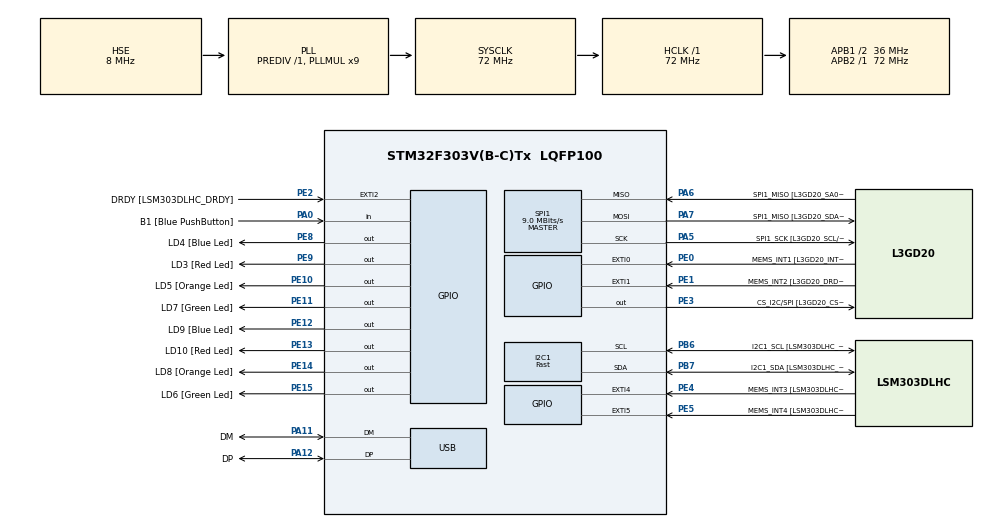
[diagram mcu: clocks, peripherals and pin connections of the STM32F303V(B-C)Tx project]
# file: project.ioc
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I2C1.I2C_Speed_Mode=I2C_Fast
I2C1.Timing=0x0000020B
I2C1.Timing-I2C=0x2000090E
Mcu.Family=STM32F3
Mcu.Name=STM32F303V(B-C)Tx
Mcu.Package=LQFP100
NVIC.EXTI1_IRQn=true\:0\:0\:false\:false\:true\:true\:true\:true
NVIC.EXTI4_IRQn=true\:0\:0\:false\:false\:true\:true\:true\:true
NVIC.PriorityGroup=NVIC_PRIORITYGROUP_0
NVIC.USB_LP_CAN_RX0_IRQn=true\:0\:0\:false\:false\:true\:false\:true\:true
PA0.GPIO_Label=B1 [Blue PushButton]
PA0.Signal=GPIO_Input
PA11.GPIO_Label=DM
PA11.Mode=Device
PA11.Signal=USB_DM
PA12.GPIO_Label=DP
PA12.Mode=Device
PA12.Signal=USB_DP
PA13.GPIO_Label=SWDIO
PA13.Mode=Serial_Wire
PA13.Signal=SYS_JTMS-SWDIO
PA14.GPIO_Label=SWCLK
PA14.Mode=Serial_Wire
PA14.Signal=SYS_JTCK-SWCLK
PA5.GPIO_Label=SPI1_SCK [L3GD20_SCL/SPC]
PA5.Mode=Full_Duplex_Master
PA5.Signal=SPI1_SCK
PA6.GPIO_Label=SPI1_MISO [L3GD20_SA0/SDO]
PA6.Mode=Full_Duplex_Master
PA6.Signal=SPI1_MISO
PA7.GPIO_Label=SPI1_MISO [L3GD20_SDA/SDI/SDO]
PA7.Mode=Full_Duplex_Master
PA7.Signal=SPI1_MOSI
PB3.GPIO_Label=SWO
PB3.Signal=SYS_JTDO-TRACESWO
PB6.GPIO_Label=I2C1_SCL [LSM303DLHC_SCL]
PB6.GPIO_Pu=GPIO_PULLUP
PB6.Mode=I2C
PB6.Signal=I2C1_SCL
PB7.GPIO_Label=I2C1_SDA [LSM303DLHC_SDA]
PB7.GPIO_Pu=GPIO_PULLUP
PB7.Mode=I2C
PB7.Signal=I2C1_SDA
PC14-OSC32_IN.GPIO_Label=OSC32_IN
PC14-OSC32_IN.Signal=RCC_OSC32_IN
PC15-OSC32_OUT.GPIO_Label=OSC32_OUT
PC15-OSC32_OUT.Signal=RCC_OSC32_OUT
PE0.GPIO_Label=MEMS_INT1 [L3GD20_INT1]
PE0.GPIO_ModeDefaultEXTI=GPIO_MODE_EVT_RISING
PE0.Signal=GPXTI0
PE1.GPIO_Label=MEMS_INT2 [L3GD20_DRDY/INT2]
PE1.GPIO_ModeDefaultEXTI=GPIO_MODE_IT_RISING
PE1.Signal=GPXTI1
PE10.GPIO_Label=LD5 [Orange Led]
PE10.Signal=GPIO_Output
PE11.GPIO_Label=LD7 [Green Led]
PE11.Signal=GPIO_Output
PE12.GPIO_Label=LD9 [Blue Led]
PE12.Signal=GPIO_Output
PE13.GPIO_Label=LD10 [Red Led]
PE13.Signal=GPIO_Output
PE14.GPIO_Label=LD8 [Orange Led]
PE14.Signal=GPIO_Output
PE15.GPIO_Label=LD6 [Green Led]
PE15.Signal=GPIO_Output
PE2.GPIO_Label=DRDY [LSM303DLHC_DRDY]
PE2.GPIO_ModeDefaultEXTI=GPIO_MODE_EVT_RISING
PE2.Signal=GPXTI2
PE3.GPIO_Label=CS_I2C/SPI [L3GD20_CS_I2C/SPI]
PE3.Signal=GPIO_Output
PE4.GPIO_Label=MEMS_INT3 [LSM303DLHC_INT1]
PE4.GPIO_ModeDefaultEXTI=GPIO_MODE_IT_RISING
PE4.Signal=GPXTI4
PE5.GPIO_Label=MEMS_INT4 [LSM303DLHC_INT2]
PE5.GPIO_ModeDefaultEXTI=GPIO_MODE_EVT_RISING
PE5.Signal=GPXTI5
PE8.GPIO_Label=LD4 [Blue Led]
PE8.Signal=GPIO_Output
PE9.GPIO_Label=LD3 [Red Led]
PE9.Signal=GPIO_Output
PF0-OSC_IN.GPIO_Label=OSC_IN
PF0-OSC_IN.Mode=HSE-External-Clock-Source
PF0-OSC_IN.Signal=RCC_OSC_IN
PF1-OSC_OUT.GPIO_Label=OSC_OUT
PF1-OSC_OUT.Signal=RCC_OSC_OUT
ProjectManager.HeapSize=0x200
ProjectManager.StackSize=0x400
ProjectManager.TargetToolchain=STM32CubeIDE
RCC.AHBFreq_Value=72000000
RCC.APB1CLKDivider=RCC_HCLK_DIV2
RCC.APB1Freq_Value=36000000
RCC.APB1TimFreq_Value=72000000
RCC.APB2Freq_Value=72000000
RCC.APB2TimFreq_Value=72000000
RCC.CortexFreq_Value=72000000
RCC.HCLKFreq_Value=72000000
RCC.HSE_VALUE=8000000
RCC.HSI_VALUE=8000000
RCC.LSE_VALUE=32768
RCC.PLLMUL=RCC_PLL_MUL9
RCC.PRESCALERUSB=RCC_USBCLKSOURCE_PLL_DIV1_5
RCC.SYSCLKFreq_VALUE=72000000
RCC.SYSCLKSourceVirtual=RCC_SYSCLKSOURCE_PLLCLK
RCC.USBFreq_Value=48000000
SPI1.BaudRatePrescaler=SPI_BAUDRATEPRESCALER_8
SPI1.BaudRatePrescaler-Full_Duplex_Master=SPI_BAUDRATEPRESCALER_2
SPI1.CLKPhase=SPI_PHASE_2EDGE
SPI1.CLKPolarity=SPI_POLARITY_HIGH
SPI1.CalculateBaudRate=9.0 MBits/s
SPI1.CalculateBaudRate-Full_Duplex_Master=24.0 MBits/s
SPI1.DataSize=SPI_DATASIZE_8BIT
SPI1.Direction=SPI_DIRECTION_2LINES
SPI1.Mode=SPI_MODE_MASTER
SPI1.Mode-Full_Duplex_Master=SPI_MODE_MASTER
SPI1.VirtualType=VM_MASTER
USB_DEVICE.CLASS_NAME_FS=CDC
USB_DEVICE.PRODUCT_STRING_CDC_FS=NRS street analize
USB_DEVICE.VirtualMode=Cdc
USB_DEVICE.VirtualModeFS=Cdc_FS
VP_USB_DEVICE_VS_USB_DEVICE_CDC_FS.Mode=CDC_FS
board=STM32F3DISCOVERY

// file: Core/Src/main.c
/* USER CODE BEGIN Header */
/**
  ******************************************************************************
  * @file           : main.c
  * @brief          : Main program body
  ******************************************************************************
  * @attention
  *
  * Copyright (c) 2022 STMicroelectronics.
  * All rights reserved.
  *
  * This software is licensed under terms that can be found in the LICENSE file
  * in the root directory of this software component.
  * If no LICENSE file comes with this software, it is provided AS-IS.
  *
  ******************************************************************************
  */
/* USER CODE END Header */
#include "main.h"
#include "usb_device.h"

/* USER CODE BEGIN Includes */
#include "usbd_cdc_if.h"
#include <math.h>
/* USER CODE END Includes */

/* USER CODE BEGIN PTD */

struct DATA {
    int16_t Gyro_XYZ[3];
    int16_t Acc_XYZ[3];
    uint8_t READY;
};

/* USER CODE END PTD */

I2C_HandleTypeDef hi2c1;

SPI_HandleTypeDef hspi1;

/* USER CODE BEGIN PV */

struct DATA sensors_data;

float minmax_X = 350;
float minmax_Y = 300;
float minmax_roll = 25;
float minmax_pitch = 25;

char *status_str[7] = {"tilted to right", "tilted to left", "left side pit", "right side pit", "front pit",
                       "tilted down", "tilted up"};
/* USER CODE END PV */

void SystemClock_Config(void);

static void MX_GPIO_Init(void);

static void MX_I2C1_Init(void);

static void MX_SPI1_Init(void);

/* USER CODE BEGIN PFP */

void HAL_GPIO_EXTI_Callback(uint16_t GPIO_Pin);

/* USER CODE END PFP */

/* USER CODE BEGIN 0 */

void pause() {
    uint32_t counter = 0;
    for (counter = 0; counter < 600; counter++) {
        asm("nop");
    }
}

void SPI1_write(uint8_t reg, uint8_t buffer) {
    HAL_GPIO_WritePin(GPIOE, GPIO_PIN_3, GPIO_PIN_RESET);
    pause();
    HAL_SPI_Transmit(&hspi1, &reg, 1, 10);
    pause();
    HAL_SPI_Transmit(&hspi1, &buffer, 1, 10);
    HAL_GPIO_WritePin(GPIOE, GPIO_PIN_3, GPIO_PIN_SET);
    pause();
}

uint8_t SPI1_read(uint8_t reg) {
    uint8_t buffer;
    reg |= 0x80;

    HAL_GPIO_WritePin(GPIOE, GPIO_PIN_3, GPIO_PIN_RESET);
    pause();
    HAL_SPI_Transmit(&hspi1, &reg, 1, 10);
    pause();
    HAL_SPI_Receive(&hspi1, &buffer, 1, 10);
    pause();
    HAL_GPIO_WritePin(GPIOE, GPIO_PIN_3, GPIO_PIN_SET);

    return buffer;
}

uint8_t I2C1_write(uint8_t address, uint8_t reg, uint8_t buffer) {
    address <<= 1;
    return HAL_I2C_Mem_Write(&hi2c1, address, reg, I2C_MEMADD_SIZE_8BIT, &buffer, 1, 10);
}

uint8_t I2C1_read(uint8_t address, uint8_t reg) {
    uint8_t buffer;
    address <<= 1;
    HAL_I2C_Mem_Read(&hi2c1, address, reg, I2C_MEMADD_SIZE_8BIT, &buffer,
                     1, 10);
    return buffer;
}

void initL3GD20() {
    uint8_t cip = SPI1_read(0x0F);
    if (cip != 0xD4 && cip != 0xD3)
        for (;;);

    // Initialize gyroscope
    SPI1_write(0x20, 0x0F); // ODR 95 Hz, Cut-Off 12.5
    SPI1_write(0x23, 0x10); // Full scale 500 dps
    SPI1_write(0x22, 0x08); // INT2

}

void initLSM303DLHC() {
    HAL_Delay(10);

    // Send sensor info
#define OLD_SENSOR 0x73
    I2C1_write(0x1E, 0x4F, OLD_SENSOR);
    HAL_Delay(100);

    // Initialize accelerometer
    I2C1_write(0x19, 0x20, 0x57); // ODR 100 Hz
    I2C1_write(0x19, 0x22, 0x10); // DRDY1 int. on INT1
    // High res. output mode
    // Block data update
    // Full-scale +/- 2G
    I2C1_write(0x19, 0x23, 0x88);
}

void readGyro_raw(int16_t *data) {
    // Read H and L registers;
    data[0] = (int16_t) ((SPI1_read(0x29) << 8) | SPI1_read(0x28)); // OUT_X
    data[1] = (int16_t) ((SPI1_read(0x2B) << 8) | SPI1_read(0x2A)); // OUT_Y
    data[2] = (int16_t) ((SPI1_read(0x2D) << 8) | SPI1_read(0x2C)); // OUT_Z
//    data[3] = SPI1_read(0x26); // OUT_TEMP
}

void readGyro(float *data, const int16_t *raw_data) {
    // FS = 500 -> Sensitivity - 17.50
    float scaler = 17.50f * 0.001f * 2;

    for (uint8_t i = 0; i < 3; i++) {
        data[i] = (float) raw_data[i] * scaler;
    }
//    data[3] = (float) ((int8_t) ~(raw_data[3] - 1) + 25);
//    data[3] = (float) (raw_data[3]);

    // Align axes
    float temp = data[0];
    data[0] = data[1] * -1;
    data[1] = temp * -1;
}

void readACC_raw(int16_t *data) {
    data[0] = (int16_t) ((I2C1_read(0x19, 0x29) << 8) | I2C1_read(0x19, 0x28)); // OUT_X_L
    data[1] = (int16_t) ((I2C1_read(0x19, 0x2B) << 8) | I2C1_read(0x19, 0x2A)); // OUT_Y_L
    data[2] = (int16_t) ((I2C1_read(0x19, 0x2D) << 8) | I2C1_read(0x19, 0x2C)); // OUT_Z_L
}

void readACC(float *data, const int16_t *raw_data) {
    // FS = 00 -> Sensitivity - 1
    // FS = 00 -> Measurement range - +/- 2
    float scale = 1 / 1.0f * 0.001f;
    for (uint8_t i = 0; i < 3; i++) {
        data[i] = (float) raw_data[i] * scale;
    }

    // Align axes
    data[1] *= -1;
}

uint16_t process_status() {
    float dataACC[3];
    float dataGyro[3];
    readACC(dataACC, sensors_data.Acc_XYZ);
    readGyro(dataGyro, sensors_data.Gyro_XYZ);

    float pitch = (float) (180.0f / M_PI *
                           atan2f(dataACC[0], sqrtf(dataACC[1] * dataACC[1] + dataACC[2] * dataACC[2])));
    float roll = (float) (180.0f / M_PI *
                          atan2f(dataACC[1], sqrtf(dataACC[0] * dataACC[0] + dataACC[2] * dataACC[2])));

    uint16_t status_code = 0;

    if (fabsf(roll) > minmax_roll) {
        if (roll > 0) {
            status_code |= 1;
        } else {
            status_code |= 1 << 1;
        }
    }
    if (fabsf(dataGyro[0]) > minmax_X) {
        if (dataGyro[0] > 0) {
            status_code |= 1 << 2;
        } else {
            status_code |= 1 << 3;
        }
    }
    if (fabsf(dataGyro[1]) > minmax_Y) {
        status_code |= 1 << 4;
    }
    if (fabsf(pitch) > minmax_pitch) {
        if (pitch > 0) {
            status_code |= 1 << 5;
        } else {
            status_code |= 1 << 6;
        }
    }

    return status_code;
}

void HAL_GPIO_EXTI_Callback(uint16_t GPIO_Pin) {
    int16_t data_raw[3];
    if (GPIO_Pin == GPIO_PIN_1) {
        HAL_GPIO_TogglePin(GPIOE, GPIO_PIN_11);
        readGyro_raw(data_raw);
        memcpy(sensors_data.Gyro_XYZ, data_raw, 3 * sizeof(int16_t));

        sensors_data.READY |= 1;
    } else if (GPIO_Pin == GPIO_PIN_4) {
        HAL_GPIO_TogglePin(GPIOE, GPIO_PIN_10);
        readACC_raw(data_raw);
        memcpy(sensors_data.Acc_XYZ, data_raw, 3 * sizeof(int16_t));

        sensors_data.READY |= 1 << 1;
    }
}
/* USER CODE END 0 */

int main(void) {

    /* MCU Configuration--------------------------------------------------------*/

    /* Reset of all peripherals, Initializes the Flash interface and the Systick. */
    HAL_Init();

    /* Configure the system clock */
    SystemClock_Config();

    /* Initialize all configured peripherals */
    MX_GPIO_Init();
    MX_I2C1_Init();
    MX_SPI1_Init();
    MX_USB_DEVICE_Init();
    /* USER CODE BEGIN 2 */

    __HAL_SPI_ENABLE(&hspi1);
    __HAL_I2C_ENABLE(&hi2c1);

    HAL_GPIO_WritePin(GPIOE, GPIO_PIN_3, GPIO_PIN_SET); // set CS to 1

    initL3GD20();
    initLSM303DLHC();

    int16_t data_raw[3];
    readGyro_raw(data_raw);
    readACC_raw(data_raw);

    uint8_t mode = 0;
    uint8_t max_mode = 2;
    uint16_t packet_num = 0;

    uint8_t binary_data_size = 8;
    uint16_t binary_output[binary_data_size];
    uint16_t binary_status_output[3];

    binary_output[0] = 0xAAAB;
    binary_status_output[0] = 0xACAB;

    /* USER CODE END 2 */

    /* Infinite loop */
    /* USER CODE BEGIN WHILE */
    while (1) {
        if (HAL_GPIO_ReadPin(GPIOA, GPIO_PIN_0)) {
            mode++;
            if (mode == max_mode) {
                mode = 0;
            }

            while (HAL_GPIO_ReadPin(GPIOA, GPIO_PIN_0)) {
                HAL_Delay(30);
            }
        }

        if (sensors_data.READY != 0b11) continue;

        sensors_data.READY = 0;

        if (mode == 0) {
            // Binary status
            binary_output[1] = packet_num;

            uint16_t status_code = process_status();

            binary_status_output[2] = status_code;

            CDC_Transmit_FS((uint8_t *) binary_status_output, 3 * sizeof(uint16_t));
        } else if (mode == 1) {
            // ASCII status
            char output[200], status[50];

            uint8_t status_code = process_status();

            if (status_code == 0) {
                sprintf(status, "normal");
            } else {
                uint8_t is_first = 1;
                for (uint8_t i = 0; i < 7; ++i) {
                    if (((status_code >> i) & 1) == 1) {
                        char temp[30];
                        sprintf(temp, "%s", status_str[i]);

                        if (is_first) {
                            sprintf(status, "%s", temp);
                            is_first = 0;
                        } else {
                            sprintf(status, "%s, %s", status, temp);
                        }
                    }
                }
            }

            sprintf(output,
                    "{\"Street analyze\": %5u, \"Code\": %3d, \"Status\": \"%s\"}\n\r",
                    packet_num, status_code, status);

            CDC_Transmit_FS((uint8_t *) output, strlen(output));
        }
        packet_num++;

        /* USER CODE END WHILE */

    }
}

void SystemClock_Config(void) {
    RCC_OscInitTypeDef RCC_OscInitStruct = {0};
    RCC_ClkInitTypeDef RCC_ClkInitStruct = {0};
    RCC_PeriphCLKInitTypeDef PeriphClkInit = {0};

    /** Initializes the RCC Oscillators according to the specified parameters
    * in the RCC_OscInitTypeDef structure.
    */
    RCC_OscInitStruct.OscillatorType = RCC_OSCILLATORTYPE_HSI | RCC_OSCILLATORTYPE_HSE;
    RCC_OscInitStruct.HSEState = RCC_HSE_BYPASS;
    RCC_OscInitStruct.HSEPredivValue = RCC_HSE_PREDIV_DIV1;
    RCC_OscInitStruct.HSIState = RCC_HSI_ON;
    RCC_OscInitStruct.HSICalibrationValue = RCC_HSICALIBRATION_DEFAULT;
    RCC_OscInitStruct.PLL.PLLState = RCC_PLL_ON;
    RCC_OscInitStruct.PLL.PLLSource = RCC_PLLSOURCE_HSE;
    RCC_OscInitStruct.PLL.PLLMUL = RCC_PLL_MUL9;
    if (HAL_RCC_OscConfig(&RCC_OscInitStruct) != HAL_OK) {
        Error_Handler();
    }

    /** Initializes the CPU, AHB and APB buses clocks
    */
    RCC_ClkInitStruct.ClockType = RCC_CLOCKTYPE_HCLK | RCC_CLOCKTYPE_SYSCLK
                                  | RCC_CLOCKTYPE_PCLK1 | RCC_CLOCKTYPE_PCLK2;
    RCC_ClkInitStruct.SYSCLKSource = RCC_SYSCLKSOURCE_PLLCLK;
    RCC_ClkInitStruct.AHBCLKDivider = RCC_SYSCLK_DIV1;
    RCC_ClkInitStruct.APB1CLKDivider = RCC_HCLK_DIV2;
    RCC_ClkInitStruct.APB2CLKDivider = RCC_HCLK_DIV1;

    if (HAL_RCC_ClockConfig(&RCC_ClkInitStruct, FLASH_LATENCY_2) != HAL_OK) {
        Error_Handler();
    }
    PeriphClkInit.PeriphClockSelection = RCC_PERIPHCLK_USB | RCC_PERIPHCLK_I2C1;
    PeriphClkInit.I2c1ClockSelection = RCC_I2C1CLKSOURCE_HSI;
    PeriphClkInit.USBClockSelection = RCC_USBCLKSOURCE_PLL_DIV1_5;
    if (HAL_RCCEx_PeriphCLKConfig(&PeriphClkInit) != HAL_OK) {
        Error_Handler();
    }
}

static void MX_I2C1_Init(void) {

    hi2c1.Instance = I2C1;
    hi2c1.Init.Timing = 0x0000020B;
    hi2c1.Init.OwnAddress1 = 0;
    hi2c1.Init.AddressingMode = I2C_ADDRESSINGMODE_7BIT;
    hi2c1.Init.DualAddressMode = I2C_DUALADDRESS_DISABLE;
    hi2c1.Init.OwnAddress2 = 0;
    hi2c1.Init.OwnAddress2Masks = I2C_OA2_NOMASK;
    hi2c1.Init.GeneralCallMode = I2C_GENERALCALL_DISABLE;
    hi2c1.Init.NoStretchMode = I2C_NOSTRETCH_DISABLE;
    if (HAL_I2C_Init(&hi2c1) != HAL_OK) {
        Error_Handler();
    }

    /** Configure Analogue filter
    */
    if (HAL_I2CEx_ConfigAnalogFilter(&hi2c1, I2C_ANALOGFILTER_ENABLE) != HAL_OK) {
        Error_Handler();
    }

    /** Configure Digital filter
    */
    if (HAL_I2CEx_ConfigDigitalFilter(&hi2c1, 0) != HAL_OK) {
        Error_Handler();
    }

}

static void MX_SPI1_Init(void) {

    /* SPI1 parameter configuration*/
    hspi1.Instance = SPI1;
    hspi1.Init.Mode = SPI_MODE_MASTER;
    hspi1.Init.Direction = SPI_DIRECTION_2LINES;
    hspi1.Init.DataSize = SPI_DATASIZE_8BIT;
    hspi1.Init.CLKPolarity = SPI_POLARITY_HIGH;
    hspi1.Init.CLKPhase = SPI_PHASE_2EDGE;
    hspi1.Init.NSS = SPI_NSS_SOFT;
    hspi1.Init.BaudRatePrescaler = SPI_BAUDRATEPRESCALER_8;
    hspi1.Init.FirstBit = SPI_FIRSTBIT_MSB;
    hspi1.Init.TIMode = SPI_TIMODE_DISABLE;
    hspi1.Init.CRCCalculation = SPI_CRCCALCULATION_DISABLE;
    hspi1.Init.CRCPolynomial = 7;
    hspi1.Init.CRCLength = SPI_CRC_LENGTH_DATASIZE;
    hspi1.Init.NSSPMode = SPI_NSS_PULSE_DISABLE;
    if (HAL_SPI_Init(&hspi1) != HAL_OK) {
        Error_Handler();
    }

}

static void MX_GPIO_Init(void) {
    GPIO_InitTypeDef GPIO_InitStruct = {0};

    /* GPIO Ports Clock Enable */
    __HAL_RCC_GPIOE_CLK_ENABLE();
    __HAL_RCC_GPIOC_CLK_ENABLE();
    __HAL_RCC_GPIOF_CLK_ENABLE();
    __HAL_RCC_GPIOA_CLK_ENABLE();
    __HAL_RCC_GPIOB_CLK_ENABLE();

    /*Configure GPIO pin Output Level */
    HAL_GPIO_WritePin(GPIOE, CS_I2C_SPI_Pin | LD4_Pin | LD3_Pin | LD5_Pin
                             | LD7_Pin | LD9_Pin | LD10_Pin | LD8_Pin
                             | LD6_Pin, GPIO_PIN_RESET);

    /*Configure GPIO pins : DRDY_Pin MEMS_INT4_Pin MEMS_INT1_Pin */
    GPIO_InitStruct.Pin = DRDY_Pin | MEMS_INT4_Pin | MEMS_INT1_Pin;
    GPIO_InitStruct.Mode = GPIO_MODE_EVT_RISING;
    GPIO_InitStruct.Pull = GPIO_NOPULL;
    HAL_GPIO_Init(GPIOE, &GPIO_InitStruct);

    /*Configure GPIO pins : CS_I2C_SPI_Pin LD4_Pin LD3_Pin LD5_Pin
                             LD7_Pin LD9_Pin LD10_Pin LD8_Pin
                             LD6_Pin */
    GPIO_InitStruct.Pin = CS_I2C_SPI_Pin | LD4_Pin | LD3_Pin | LD5_Pin
                          | LD7_Pin | LD9_Pin | LD10_Pin | LD8_Pin
                          | LD6_Pin;
    GPIO_InitStruct.Mode = GPIO_MODE_OUTPUT_PP;
    GPIO_InitStruct.Pull = GPIO_NOPULL;
    GPIO_InitStruct.Speed = GPIO_SPEED_FREQ_LOW;
    HAL_GPIO_Init(GPIOE, &GPIO_InitStruct);

    /*Configure GPIO pins : MEMS_INT3_Pin MEMS_INT2_Pin */
    GPIO_InitStruct.Pin = MEMS_INT3_Pin | MEMS_INT2_Pin;
    GPIO_InitStruct.Mode = GPIO_MODE_IT_RISING;
    GPIO_InitStruct.Pull = GPIO_NOPULL;
    HAL_GPIO_Init(GPIOE, &GPIO_InitStruct);

    /*Configure GPIO pin : B1_Pin */
    GPIO_InitStruct.Pin = B1_Pin;
    GPIO_InitStruct.Mode = GPIO_MODE_INPUT;
    GPIO_InitStruct.Pull = GPIO_NOPULL;
    HAL_GPIO_Init(B1_GPIO_Port, &GPIO_InitStruct);

    /* EXTI interrupt init*/
    HAL_NVIC_SetPriority(EXTI1_IRQn, 0, 0);
    HAL_NVIC_EnableIRQ(EXTI1_IRQn);

    HAL_NVIC_SetPriority(EXTI4_IRQn, 0, 0);
    HAL_NVIC_EnableIRQ(EXTI4_IRQn);

}

void Error_Handler(void) {
    __disable_irq();
    while (1) {
    }
}
